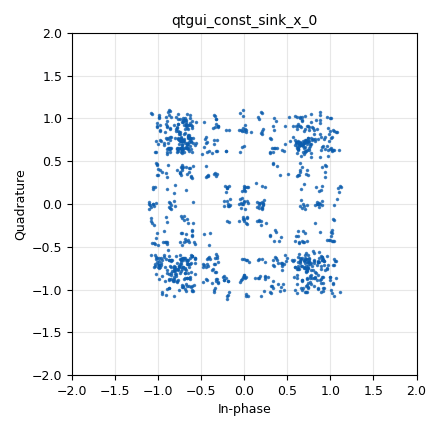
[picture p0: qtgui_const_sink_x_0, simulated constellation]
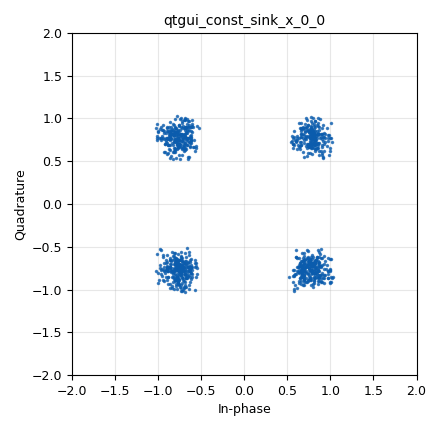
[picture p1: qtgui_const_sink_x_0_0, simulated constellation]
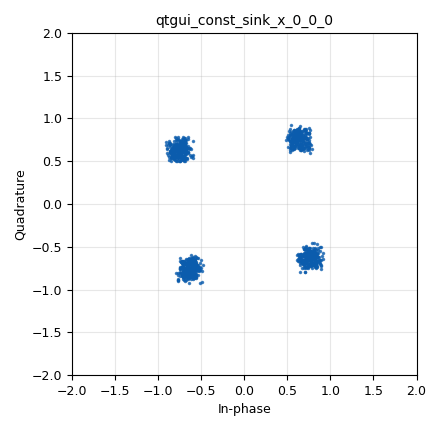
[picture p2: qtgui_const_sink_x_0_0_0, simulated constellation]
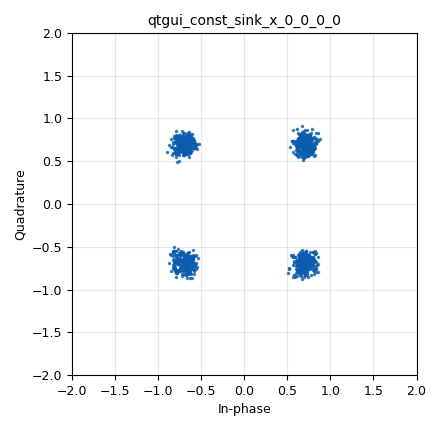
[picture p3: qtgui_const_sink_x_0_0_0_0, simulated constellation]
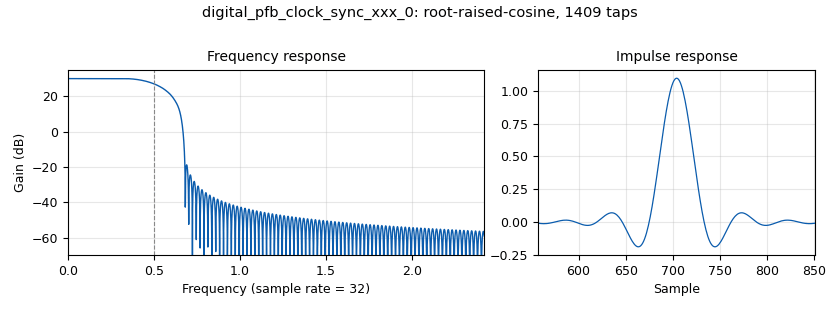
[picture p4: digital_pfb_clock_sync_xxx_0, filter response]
options:
  parameters:
    category: Custom
    generate_options: qt_gui
    id: top_block
    output_language: python
  states: {}

blocks:
- name: BW
  id: variable_qtgui_range
  parameters:
    gui_hint: 0,3
    orient: Qt.Horizontal
    start: '-0'
    step: '10e-3'
    stop: '200e-3'
    value: '62.8e-3'
  states: {}
- name: cma_gain
  id: variable_qtgui_range
  parameters:
    gui_hint: 2,1
    orient: Qt.Horizontal
    start: '0'
    step: '1e-3'
    stop: '100e-3'
    value: '10e-3'
  states: {}
- name: const_points
  id: variable
  parameters:
    value: '256'
  states: {}
- name: const_points_0
  id: variable
  parameters:
    value: '256'
  states: {}
- name: excess_bw
  id: variable
  parameters:
    value: '0.35'
  states: {}
- name: freq_off
  id: variable_qtgui_range
  parameters:
    gui_hint: 0,2
    orient: Qt.Horizontal
    start: '-0.1'
    step: '0.001'
    stop: '0.1'
    value: '0'
  states: {}
- name: nfilts
  id: variable
  parameters:
    value: '32'
  states: {}
- name: noise_volt
  id: variable_qtgui_range
  parameters:
    gui_hint: 0,0
    orient: Qt.Horizontal
    start: '0'
    step: '0.01'
    stop: '1'
    value: '100e-6'
  states: {}
- name: ntaps
  id: variable
  parameters:
    value: 11*nfilts*sps
  states: {}
- name: qpsk
  id: variable_constellation_rect
  parameters:
    const_points: '[-0.707-0.707j, -0.707+0.707j, 0.707+0.707j, 0.707-0.707j]'
    imag_sect: '2'
    real_sect: '2'
    rot_sym: '4'
    sym_map: '[0, 1, 2, 3]'
    w_imag_sect: '1'
    w_real_sect: '1'
  states: {}
- name: rrc_taps
  id: variable
  parameters:
    value: firdes.root_raised_cosine(nfilts,nfilts,1.0,excess_bw,ntaps)
  states: {}
- name: samp_rate
  id: variable
  parameters:
    value: 32e3
  states: {}
- name: sps
  id: variable
  parameters:
    value: '4'
  states: {}
- name: taps
  id: variable
  parameters:
    value: '1'
  states: {}
- name: time_off
  id: variable_qtgui_range
  parameters:
    gui_hint: 0,1
    orient: Qt.Horizontal
    start: '0.999'
    step: '100e-6'
    stop: '1.001'
    value: '1'
  states: {}
- name: analog_random_source_x_0
  id: analog_random_source_x
  parameters:
    max: const_points
    min: '0'
    num_samps: '10000'
    repeat: 'True'
    type: byte
  states: {}
- name: blocks_throttle_0
  id: blocks_throttle
  parameters:
    samples_per_second: samp_rate
    type: byte
  states: {state: disabled}
- name: blocks_throttle_0_0
  id: blocks_throttle
  parameters:
    samples_per_second: samp_rate
    type: complex
  states: {}
- name: blocks_uchar_to_float_0
  id: blocks_uchar_to_float
  parameters: {}
  states: {state: disabled}
- name: channels_channel_model_0
  id: channels_channel_model
  parameters:
    epsilon: time_off
    freq_offset: freq_off
    noise_voltage: noise_volt
    seed: '0'
    taps: '1.0 '
  states: {}
- name: const
  id: digital_constellation_modulator
  parameters:
    constellation: qpsk
    differential: 'True'
    excess_bw: excess_bw
    samples_per_symbol: '4'
  states: {}
- name: digital_cma_equalizer_cc_0
  id: digital_cma_equalizer_cc
  parameters:
    modulus: '1'
    mu: cma_gain
    num_taps: '11'
    sps: '2'
  states: {}
- name: digital_costas_loop_cc_0
  id: digital_costas_loop_cc
  parameters:
    order: '4'
    w: BW
  states: {}
- name: digital_pfb_clock_sync_xxx_0
  id: digital_pfb_clock_sync_xxx
  parameters:
    filter_size: '32'
    init_phase: '16'
    loop_bw: BW
    max_dev: '1.5'
    osps: '1'
    sps: '4.004'
    taps: rrc_taps
    type: ccf
  states: {}
- name: qtgui_const_sink_x_0
  id: qtgui_const_sink_x
  parameters:
    alias: square
    color1: '"green"'
    gui_hint: 1,1
    legend: 'False'
    marker1: '1'
    size: '1024'
    type: complex
  states: {}
- name: qtgui_const_sink_x_0_0
  id: qtgui_const_sink_x
  parameters:
    color1: '"green"'
    gui_hint: 1,2
    legend: 'False'
    marker1: '1'
    size: '1024'
    type: complex
  states: {}
- name: qtgui_const_sink_x_0_0_0
  id: qtgui_const_sink_x
  parameters:
    color1: '"green"'
    gui_hint: 1,3
    legend: 'False'
    marker1: '1'
    size: '1024'
    type: complex
  states: {}
- name: qtgui_const_sink_x_0_0_0_0
  id: qtgui_const_sink_x
  parameters:
    color1: '"green"'
    gui_hint: 1,0
    legend: 'False'
    marker1: '1'
    size: '1024'
    type: complex
  states: {}
- name: qtgui_const_sink_x_0_1
  id: qtgui_const_sink_x
  parameters:
    alias: inline
    color1: '"green"'
    gui_hint: 1,0
    legend: 'False'
    marker1: '1'
    size: '1024'
    type: complex
  states: {state: disabled}
- name: qtgui_histogram_sink_x_0
  id: qtgui_histogram_sink_x
  parameters:
    bins: '256'
    size: '100'
    type: float
    xmax: '256'
    xmin: '0'
  states: {state: disabled}
- name: qtgui_time_sink_x_0
  id: qtgui_time_sink_x
  parameters:
    autoscale: 'True'
    label1: ''
    size: '1024'
    srate: samp_rate
    type: float
  states: {state: disabled}

connections:
- [analog_random_source_x_0, '0', blocks_throttle_0, '0']
- [analog_random_source_x_0, '0', const, '0']
- [blocks_throttle_0, '0', blocks_uchar_to_float_0, '0']
- [blocks_throttle_0_0, '0', channels_channel_model_0, '0']
- [blocks_throttle_0_0, '0', qtgui_const_sink_x_0_1, '0']
- [blocks_uchar_to_float_0, '0', qtgui_histogram_sink_x_0, '0']
- [blocks_uchar_to_float_0, '0', qtgui_time_sink_x_0, '0']
- [channels_channel_model_0, '0', digital_pfb_clock_sync_xxx_0, '0']
- [channels_channel_model_0, '0', qtgui_const_sink_x_0, '0']
- [const, '0', blocks_throttle_0_0, '0']
- [digital_cma_equalizer_cc_0, '0', digital_costas_loop_cc_0, '0']
- [digital_cma_equalizer_cc_0, '0', qtgui_const_sink_x_0_0_0, '0']
- [digital_costas_loop_cc_0, '0', qtgui_const_sink_x_0_0_0_0, '0']
- [digital_pfb_clock_sync_xxx_0, '0', digital_cma_equalizer_cc_0, '0']
- [digital_pfb_clock_sync_xxx_0, '0', qtgui_const_sink_x_0_0, '0']

metadata:
  file_format: 1
